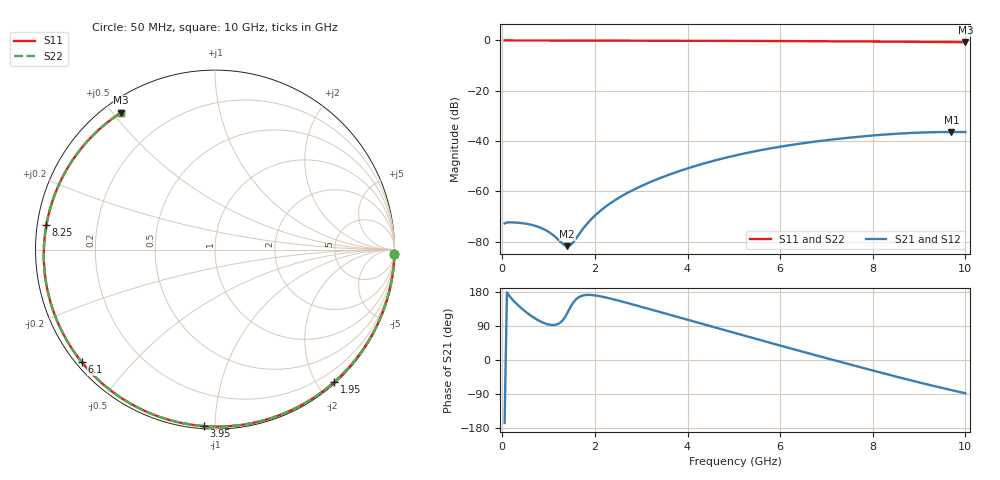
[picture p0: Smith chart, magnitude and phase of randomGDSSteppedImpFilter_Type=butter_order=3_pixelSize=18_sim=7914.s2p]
! freq	dB(S11)	phase(S11)	dB(S12)	phase(S12)
!  dB(S21)	phase(S21)	dB(S22)	phase(S22)
!S-par simulation data
#  GHz  S  DB  R 50
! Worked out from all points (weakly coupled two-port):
!   200 points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, 50 MHz to 10 GHz, reference 50 ohm
!   highest |S21| = -36.38 dB at 9.7 GHz (marker M1); lowest = -81.8 dB at 1.4 GHz (marker M2)
!   lowest |S11| = -0.7 dB at 10 GHz (marker M3), VSWR 25.71, Z = 2.49 + j26.3 ohm
!   |S11| at or under -10 dB: nowhere
!   |S22| runs from -0.7 to 0.0 dB; largest |S21 - S12| = 0
!   S11 on the Smith chart (normalised r, x): 50 MHz: 0, -91; 1.95 GHz: 0.02, -2.25; 3.95 GHz: 0.01, -0.94; 6.1 GHz: 0.02, -0.37; 8.25 GHz: 0.03, +0.07; 10 GHz: 0.05, +0.53
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0.05  -0.00 -1.3  -72.71 -166.3  -72.71 -166.3  -0.00 -1.3
0.3  -0.00 -7.5  -72.39 149.3  -72.39 149.3  -0.00 -7.5
0.7  -0.02 -17.5  -73.61 110.3  -73.61 110.3  -0.02 -17.5
1  -0.03 -24.9  -76.08 93.7  -76.08 93.7  -0.03 -24.9
1.25  -0.04 -31.1  -79.88 98.4  -79.88 98.4  -0.04 -31.1
1.4  -0.04 -34.7  -81.76 123.0  -81.76 123.0  -0.04 -34.7
1.55  -0.05 -38.3  -79.78 154.3  -79.78 154.3  -0.05 -38.3
1.75  -0.05 -43.2  -74.68 170.5  -74.68 170.5  -0.05 -43.2
1.95  -0.06 -47.9  -70.50 171.3  -70.50 171.3  -0.06 -47.9
2.2  -0.07 -53.9  -66.48 166.0  -66.48 166.0  -0.07 -53.9
2.55  -0.08 -62.0  -62.17 155.4  -62.17 155.4  -0.08 -62.0
3.4  -0.11 -81.4  -54.74 126.8  -54.74 126.8  -0.11 -81.4
3.95  -0.13 -93.6  -51.14 108.1  -51.14 108.1  -0.13 -93.6
5.05  -0.18 -117.3  -45.63 70.4  -45.63 70.4  -0.18 -117.3
6.1  -0.25 -139.7  -41.93 34.7  -41.93 34.7  -0.25 -139.7
6.7  -0.30 -152.7  -40.33 14.8  -40.33 14.8  -0.30 -152.7
7.5  -0.37 -170.5  -38.63 -11.5  -38.63 -11.5  -0.37 -170.5
8.25  -0.45 171.8  -37.41 -35.7  -37.41 -35.7  -0.45 171.8
8.35  -0.46 169.4  -37.28 -38.9  -37.28 -38.9  -0.46 169.4
9.05  -0.55 151.4  -36.60 -60.6  -36.60 -60.6  -0.55 151.4
9.7  -0.63 133.3  -36.38 -79.6  -36.38 -79.6  -0.63 133.3
10  -0.68 124.4  -36.42 -87.8  -36.42 -87.8  -0.68 124.4
